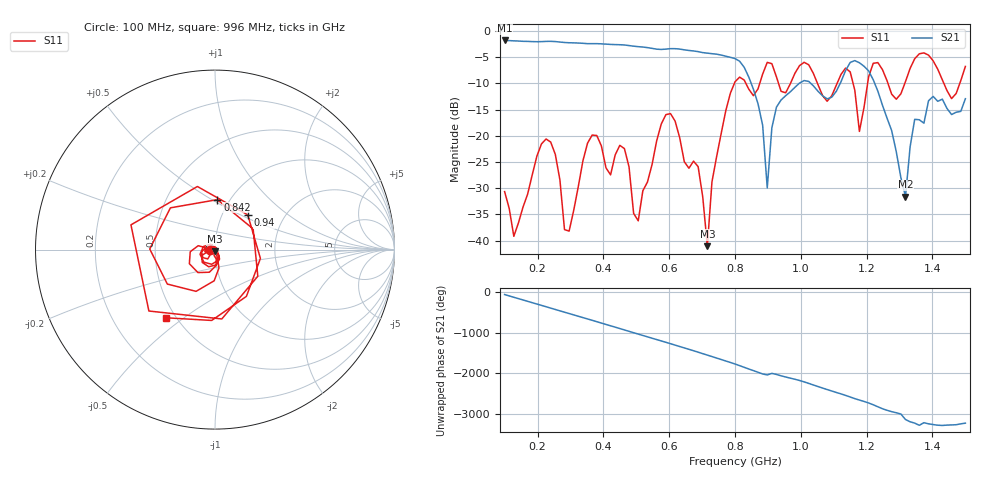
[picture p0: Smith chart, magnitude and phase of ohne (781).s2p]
! NanoVNA-App
! Date: 2025-09-25 14:26:53
! Start: 100MHz Stop: 1,5GHz Points: 101
! S-Parameter data: F S11 S21 S12 S22
# Hz S RI R 50
!  Frequency  S11_Real  S11_Imag  S21_Real  S21_Imag  S12_Real  S12_Imag  S22_Real  S22_Imag
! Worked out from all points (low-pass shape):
!   101 points, 100 MHz to 1.5 GHz, reference 50 ohm
!   highest |S21| = -1.79 dB at 100 MHz (marker M1); lowest = -31.6 dB at 1.318 GHz (marker M2)
!   |S21| within 3 dB of the highest: start of sweep to 771.6 MHz
!   lowest |S11| = -41.0 dB at 716 MHz (marker M3), VSWR 1.02, Z = 49.8 - j0.865 ohm
!   |S11| at or under -10 dB: start of sweep to 798 MHz; 833.2 MHz to 875.1 MHz (41.95 MHz wide, 4.91 % of centre); 1.051 GHz to 1.11 GHz (59.5 MHz wide, 5.51 % of centre) (the widest 3 of 7)
!   S12 and S22 are empty: the file has one direction only
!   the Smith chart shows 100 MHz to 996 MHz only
!   S11 on the Smith chart (normalised r, x): 100 MHz: 0.94, -0.01; 842 MHz: 0.88, +0.53; 940 MHz: 1.32, +0.55; 996 MHz: 0.44, -0.43
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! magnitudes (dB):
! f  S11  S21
! 100 MHz  -30.6  -1.8
! 128 MHz  -39.2  -1.9
! 226 MHz  -20.6  -2.0
! 296 MHz  -38.2  -2.2
! 338 MHz  -24.7  -2.3
! 464 MHz  -22.4  -2.7
! 506 MHz  -36.2  -3.0
! 576 MHz  -17.7  -3.5
! 688 MHz  -25.9  -3.9
! 716 MHz  -41.0  -4.2
! 800 MHz  -9.7  -5.2
! 842 MHz  -11.1  -8.8
! 898 MHz  -6.0  -29.9
! 940 MHz  -11.5  -13.1
! 996 MHz  -6.6  -9.9
! 1.038 GHz  -8.1  -10.4
! 1.178 GHz  -19.1  -6.1
! 1.22 GHz  -6.2  -9.3
! 1.276 GHz  -12.0  -19.0
! 1.318 GHz  -9.6  -31.6
! 1.346 GHz  -5.3  -16.8
! 1.5 GHz  -6.8  -12.9
